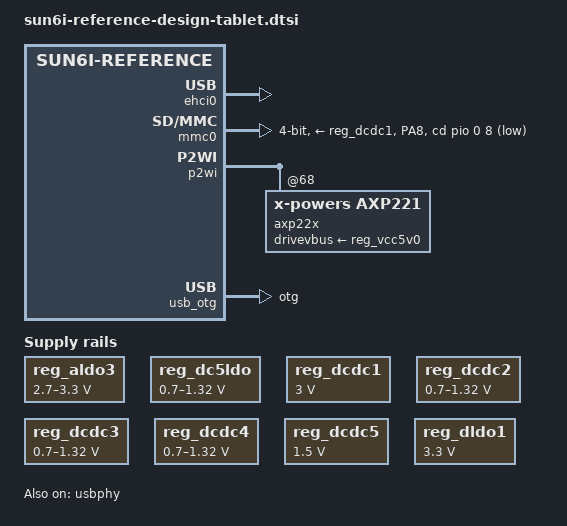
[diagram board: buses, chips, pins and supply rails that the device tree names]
/*
 * Copyright 2016 Hans de Goede <hdegoede@redhat.com>
 *
 * This file is dual-licensed: you can use it either under the terms
 * of the GPL or the X11 license, at your option. Note that this dual
 * licensing only applies to this file, and not this project as a
 * whole.
 *
 *  a) This file is free software; you can redistribute it and/or
 *     modify it under the terms of the GNU General Public License as
 *     published by the Free Software Foundation; either version 2 of the
 *     License, or (at your option) any later version.
 *
 *     This file is distributed in the hope that it will be useful,
 *     but WITHOUT ANY WARRANTY; without even the implied warranty of
 *     MERCHANTABILITY or FITNESS FOR A PARTICULAR PURPOSE.  See the
 *     GNU General Public License for more details.
 *
 * Or, alternatively,
 *
 *  b) Permission is hereby granted, free of charge, to any person
 *     obtaining a copy of this software and associated documentation
 *     files (the "Software"), to deal in the Software without
 *     restriction, including without limitation the rights to use,
 *     copy, modify, merge, publish, distribute, sublicense, and/or
 *     sell copies of the Software, and to permit persons to whom the
 *     Software is furnished to do so, subject to the following
 *     conditions:
 *
 *     The above copyright notice and this permission notice shall be
 *     included in all copies or substantial portions of the Software.
 *
 *     THE SOFTWARE IS PROVIDED "AS IS", WITHOUT WARRANTY OF ANY KIND,
 *     EXPRESS OR IMPLIED, INCLUDING BUT NOT LIMITED TO THE WARRANTIES
 *     OF MERCHANTABILITY, FITNESS FOR A PARTICULAR PURPOSE AND
 *     NONINFRINGEMENT. IN NO EVENT SHALL THE AUTHORS OR COPYRIGHT
 *     HOLDERS BE LIABLE FOR ANY CLAIM, DAMAGES OR OTHER LIABILITY,
 *     WHETHER IN AN ACTION OF CONTRACT, TORT OR OTHERWISE, ARISING
 *     FROM, OUT OF OR IN CONNECTION WITH THE SOFTWARE OR THE USE OR
 *     OTHER DEALINGS IN THE SOFTWARE.
 */

#include "sunxi-common-regulators.dtsi"

#include <dt-bindings/gpio/gpio.h>
#include <dt-bindings/input/input.h>

/ {
	aliases {
		serial0 = &uart0;
	};

	chosen {
		stdout-path = "serial0:115200n8";
	};
};

&cpu0 {
	cpu-supply = <&reg_dcdc3>;
};

&ehci0 {
	/* Wifi is connected here */
	status = "okay";
};

&mmc0 {
	pinctrl-names = "default";
	pinctrl-0 = <&mmc0_pins_a>, <&mmc0_cd_pin_e708_q1>;
	vmmc-supply = <&reg_dcdc1>;
	bus-width = <4>;
	cd-gpios = <&pio 0 8 GPIO_ACTIVE_HIGH>; /* PA8 */
	cd-inverted;
	status = "okay";
};

&pio {
	mmc0_cd_pin_e708_q1: mmc0_cd_pin@0 {
		pins = "PA8";
		function = "gpio_in";
		bias-pull-up;
	};

	usb0_id_detect_pin: usb0_id_detect_pin@0 {
		pins = "PA15";
		function = "gpio_in";
		bias-pull-up;
	};
};

&p2wi {
	status = "okay";

	axp22x: pmic@68 {
		compatible = "x-powers,axp221";
		reg = <0x68>;
		interrupt-parent = <&nmi_intc>;
		interrupts = <0 IRQ_TYPE_LEVEL_LOW>;
		drivevbus-supply = <&reg_vcc5v0>;
		x-powers,drive-vbus-en;
	};
};

#include "axp22x.dtsi"

&reg_aldo3 {
	regulator-always-on;
	regulator-min-microvolt = <2700000>;
	regulator-max-microvolt = <3300000>;
	regulator-name = "avcc";
};

&reg_dc1sw {
	regulator-name = "vcc-lcd";
};

&reg_dc5ldo {
	regulator-always-on;
	regulator-min-microvolt = <700000>;
	regulator-max-microvolt = <1320000>;
	regulator-name = "vdd-cpus"; /* This is an educated guess */
};

&reg_dcdc1 {
	regulator-always-on;
	regulator-min-microvolt = <3000000>;
	regulator-max-microvolt = <3000000>;
	regulator-name = "vcc-3v0";
};

&reg_dcdc2 {
	regulator-min-microvolt = <700000>;
	regulator-max-microvolt = <1320000>;
	regulator-name = "vdd-gpu";
};

&reg_dcdc3 {
	regulator-always-on;
	regulator-min-microvolt = <700000>;
	regulator-max-microvolt = <1320000>;
	regulator-name = "vdd-cpu";
};

&reg_dcdc4 {
	regulator-always-on;
	regulator-min-microvolt = <700000>;
	regulator-max-microvolt = <1320000>;
	regulator-name = "vdd-sys-dll";
};

&reg_dcdc5 {
	regulator-always-on;
	regulator-min-microvolt = <1500000>;
	regulator-max-microvolt = <1500000>;
	regulator-name = "vcc-dram";
};

&reg_dldo1 {
	regulator-min-microvolt = <3300000>;
	regulator-max-microvolt = <3300000>;
	regulator-name = "vcc-wifi";
};

&reg_drivevbus {
	regulator-name = "usb0-vbus";
	status = "okay";
};

&simplefb_lcd {
	vcc-lcd-supply = <&reg_dc1sw>;
};

&usb_otg {
	dr_mode = "otg";
	status = "okay";
};

&usb_power_supply {
	status = "okay";
};

&usbphy {
	pinctrl-names = "default";
	pinctrl-0 = <&usb0_id_detect_pin>;
	usb0_id_det-gpio = <&pio 0 15 GPIO_ACTIVE_HIGH>; /* PA15 */
	usb0_vbus_power-supply = <&usb_power_supply>;
	usb0_vbus-supply = <&reg_drivevbus>;
	usb1_vbus-supply = <&reg_dldo1>;
	status = "okay";
};
